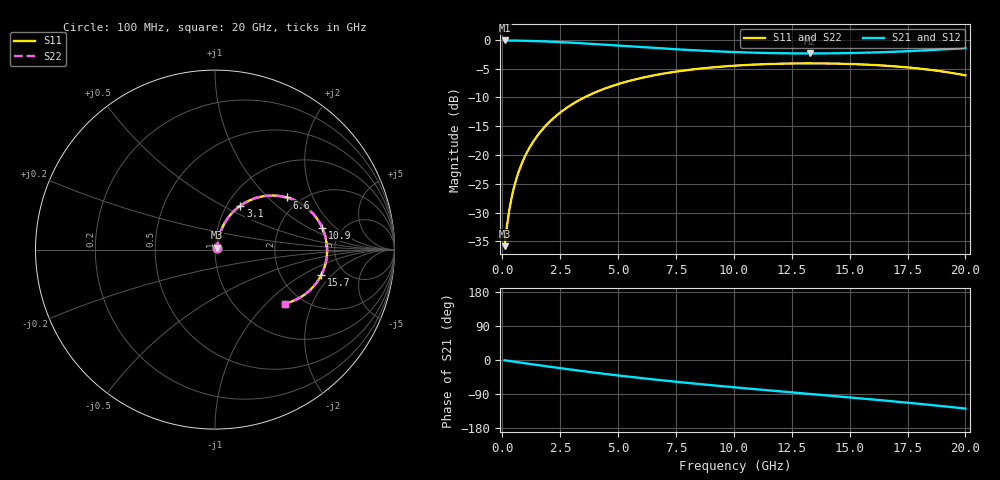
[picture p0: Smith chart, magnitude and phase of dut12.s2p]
! Touchstone file exported from HFSS 2026.1.0
!  File:  C:/ffzhzh/LocalFiles/Ansys_Project_Files/temp_train_TSV_RDL_12_1782961690_15332.aedt
!  Generated:  11:17:20 AM Jul  2, 2026
!  Design:  TSV_RDL
!  Project:  temp_train_TSV_RDL_12_1782961690_15332
! Variables:
!  h_bsmrdl = 4.7um
!  h_ox = 20um
!  h_rdl = 5um
!  h_sub = 63.96um
!  h_tmrdl = 2.55um
!  h_tsv = 63.96um
!  h_via = 3um
!  l_bsmrdl = 418.15um
!  l_sub = 2319.93um
!  l_tmrdl = 137.93um
!  m_sub = 200um
!  pitch = 56.66um
!  r_tsv = 9.47um
!  s_tmrdl = 10um
!  w_bsmrdl = 11.91um
!  w_sub = 500um
!  w_tmrdl = 26.01um
!  x_tsv_center1 = 150.935um
!  x_tsv_center2 = 580.995um
!  x_tsv_center3 = 744.935um
!  x_tsv_center4 = 1174.995um
!  x_tsv_center5 = 1338.935um
!  x_tsv_center6 = 1768.995um
# GHz S MA R 50.000000
! Terminal data exported
! Port[1] = TM_RDL1_1_T1
! Port[2] = TM_RDL5_1_T1
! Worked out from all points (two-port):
!   200 points, 100 MHz to 20 GHz, reference 50 ohm
!   highest |S21| = -0.11 dB at 100 MHz (marker M1); lowest = -2.4 dB at 13.3 GHz (marker M2)
!   |S21| within 3 dB of the highest: start of sweep to end of sweep
!   lowest |S11| = -35.8 dB at 100 MHz (marker M3), VSWR 1.03, Z = 51.3 + j1.03 ohm
!   |S11| at or under -10 dB: start of sweep to 3.548 GHz
!   |S22| runs from -35.8 to -4.1 dB; largest |S21 - S12| = 1.4e-13
!   S11 on the Smith chart (normalised r, x): 100 MHz: 1.03, +0.02; 3.1 GHz: 1.15, +0.61; 6.6 GHz: 1.70, +1.31; 10.9 GHz: 3.55, +1.38; 15.7 GHz: 3.40, -1.51; 20 GHz: 1.64, -1.30
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0.1  0.01613 38.6  0.9875 -0.9  0.9875 -0.9  0.01613 38.6
! Gamma 0 0 0 0
! Port Impedance 50 0 50 0
0.2  0.02404 56.3  0.9871 -1.8  0.9871 -1.8  0.02404 56.3
0.3  0.03305 64.1  0.9865 -2.7  0.9865 -2.7  0.03305 64.1
0.4  0.04238 68.1  0.9859 -3.6  0.9859 -3.6  0.04238 68.1
0.7  0.07076 72.3  0.9836 -6.2  0.9836 -6.2  0.07076 72.3
1  0.0991 72.7  0.9806 -8.8  0.9806 -8.8  0.0991 72.7
1.4  0.1363 71.3  0.9755 -12.3  0.9755 -12.3  0.1363 71.3
1.9  0.1816 68.4  0.9675 -16.6  0.9675 -16.6  0.1816 68.4
2.5  0.2335 64.3  0.9557 -21.6  0.9557 -21.6  0.2335 64.3
3.1  0.2822 60.0  0.9419 -26.4  0.9419 -26.4  0.2822 60.0
3.5  0.3127 57.1  0.932 -29.6  0.932 -29.6  0.3127 57.1
4.9  0.4065 47.2  0.8944 -40.1  0.8944 -40.1  0.4065 47.2
6.6  0.4938 36.0  0.8494 -51.7  0.8494 -51.7  0.4938 36.0
6.8  0.5023 34.8  0.8445 -53.0  0.8445 -53.0  0.5023 34.8
8.5  0.5612 24.7  0.8074 -63.4  0.8074 -63.4  0.5612 24.7
10.1  0.5974 15.8  0.7819 -72.5  0.7819 -72.5  0.5974 15.8
10.9  0.6095 11.5  0.7729 -76.9  0.7729 -76.9  0.6095 11.5
13.3  0.6247 -0.8  0.7614 -89.7  0.7614 -89.7  0.6247 -0.8
13.4  0.6247 -1.4  0.7614 -90.2  0.7614 -90.2  0.6247 -1.4
15.7  0.6094 -13.2  0.7731 -102.5  0.7731 -102.5  0.6094 -13.3
16.7  0.5933 -18.6  0.7847 -108.1  0.7847 -108.1  0.5934 -18.6
20  0.4914 -37.7  0.8472 -128.1  0.8472 -128.1  0.4914 -37.7
